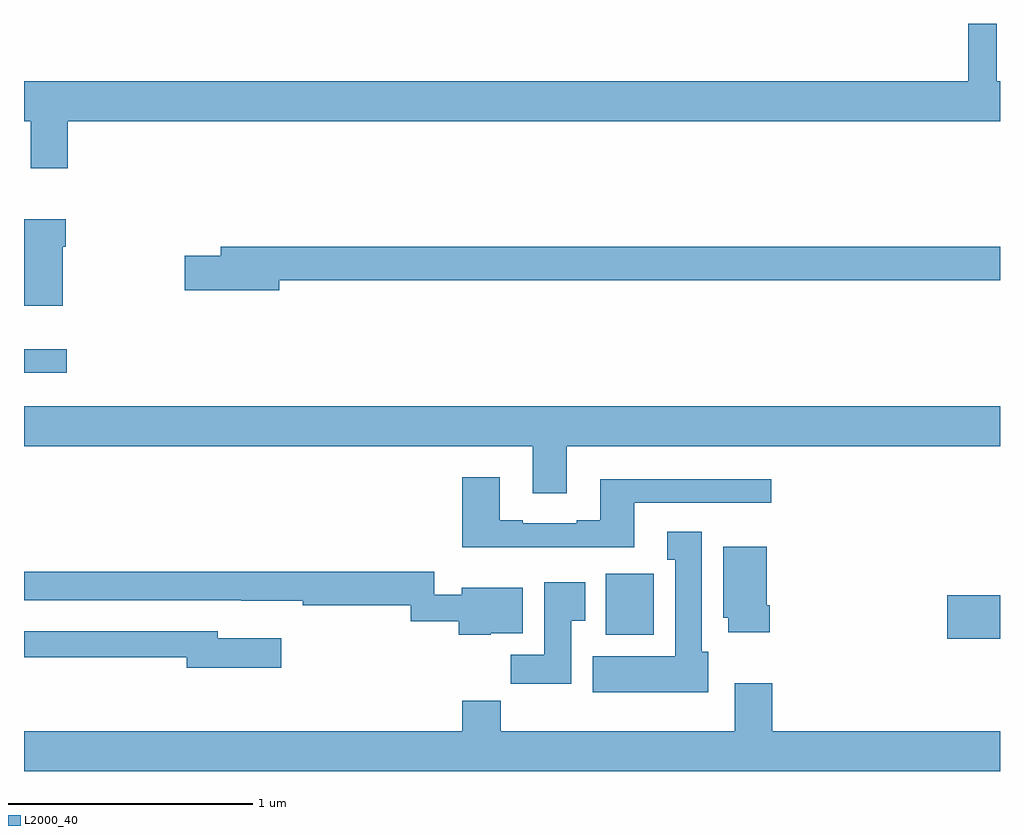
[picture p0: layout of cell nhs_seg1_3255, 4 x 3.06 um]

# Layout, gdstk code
import gdstk
lib = gdstk.Library(unit=1e-6, precision=1e-09)
def R(c, l, rs):  # rectangles x0, y0, x1, y1
    for r in rs: c.add(gdstk.rectangle(r[:2], r[2:], *l))
def P(c, l, *ps):  # polygons
    for p in ps: c.add(gdstk.Polygon(p, *l))
L2000_40 = (2000, 40)

nhs_seg1_3255 = lib.new_cell('nhs_seg1_3255')
R(nhs_seg1_3255, L2000_40, [(290.784,545.614,291,545.792), (289.385,545.63,289.581,545.881), (287,546.704,287.176,546.801)])
P(nhs_seg1_3255, L2000_40, [(287.18,547.736),(291,547.736),(291,547.9),(290.987,547.9),(290.987,548.134),(290.869,548.134),(290.869,547.9),(287,547.9),(287,547.736),(287.027,547.736),(287.027,547.542),(287.18,547.542)],
  [(287.158,547.22),(287.171,547.22),(287.171,547.333),(287,547.333),(287,546.98),(287.158,546.98)],
  [(288.046,547.084),(291,547.084),(291,547.22),(287.807,547.22),(287.807,547.184),(287.658,547.184),(287.658,547.042),(288.046,547.042)],
  [(289.225,546.404),(291,546.404),(291,546.568),(287,546.568),(287,546.404),(289.085,546.404),(289.085,546.21),(289.225,546.21)],
  [(289.501,546.171),(290.062,546.171),(290.062,546.268),(289.361,546.268),(289.361,546.1),(289.265,546.1),(289.265,546.087),(289.045,546.087),(289.045,546.1),(288.949,546.1),(288.949,546.277),(288.797,546.277),(288.797,545.99),(289.501,545.99)],
  [(289.804,545.562),(289.777,545.562),(289.777,546.052),(289.637,546.052),(289.637,545.939),(289.67,545.939),(289.67,545.542),(289.331,545.542),(289.331,545.396),(289.804,545.396)],
  [(290.057,545.752),(290.044,545.752),(290.044,545.992),(289.865,545.992),(289.865,545.7),(289.886,545.7),(289.886,545.64),(290.057,545.64)],
  [(288.912,545.636),(289.045,545.636),(289.045,545.824),(288.794,545.824),(288.794,545.795),(288.681,545.795),(288.681,545.888),(287,545.888),(287,545.772),(287.89,545.772),(287.89,545.771),(288.142,545.771),(288.142,545.752),(288.585,545.752),(288.585,545.685),(288.782,545.685),(288.782,545.63),(288.912,545.63)],
  [(289.243,545.689),(289.3,545.689),(289.3,545.845),(289.133,545.845),(289.133,545.548),(288.994,545.548),(288.994,545.43),(289.243,545.43)],
  [(288.055,545.617),(287.794,545.617),(287.794,545.646),(287,545.646),(287,545.538),(287.666,545.538),(287.666,545.495),(288.055,545.495)],
  [(291,545.236),(290.066,545.236),(290.066,545.431),(289.913,545.431),(289.913,545.236),(288.953,545.236),(288.953,545.36),(288.797,545.36),(288.797,545.236),(287,545.236),(287,545.072),(291,545.072)])

lib.write_gds('nhs_seg1_3255.gds')
